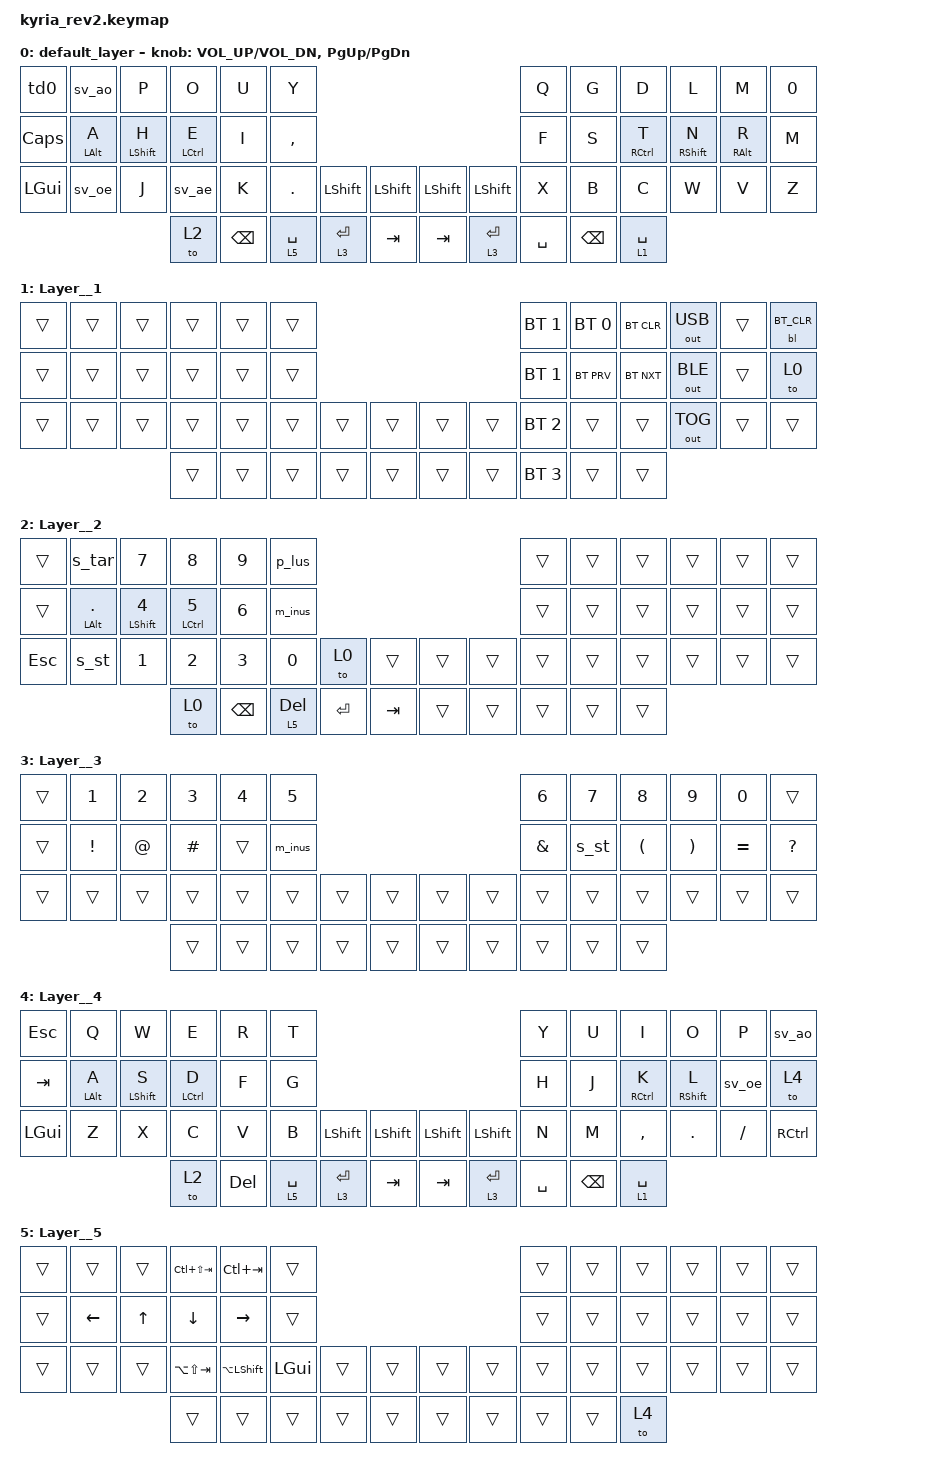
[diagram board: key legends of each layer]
/*
 * Copyright (c) 2020 The ZMK Contributors
 *
 * SPDX-License-Identifier: MIT
 */

#include <behaviors.dtsi>
#include <dt-bindings/zmk/keys.h>
#include <dt-bindings/zmk/bt.h>
#include <dt-bindings/zmk/rgb.h>
#include <dt-bindings/zmk/ext_power.h>
#include "../zmk-nodefree-config/helper.h"
#include "../zmk-nodefree-config/international_chars/swedish.dtsi"




/ {

    combos {
        compatible = "zmk,combos";

        combo_esc {
            timeout-ms = <15>;
            key-positions = <2 3>;
            bindings = <&kp LC(A)>;
        };

        combo_copy {
            timeout-ms = <15>;
            key-positions = <14 15>;
            bindings = <&kp LC(C)>;
        };

        combo_paste {
            timeout-ms = <15>;
            key-positions = <15 16>;
            bindings = <&kp LC(V)>;
        };

        combo_undo {
            timeout-ms = <15>;
            key-positions = <26 27>;
            bindings = <&kp LC(Z)>;
        };

        combo_redo {
            timeout-ms = <15>;
            key-positions = <27 28>;
            bindings = <&kp LC(Y)>;
        };
    };

    behaviors {
        bspc_del: backspace_delete {
            compatible = "zmk,behavior-mod-morph";
            label = "BACKSPACE_DELETE";
            #binding-cells = <0>;
            bindings =
                <&kp BACKSPACE>,
                <&kp DELETE>;

            mods = <(MOD_LSFT|MOD_RSFT)>;
            keep-mods = <(MOD_RSFT)>;
        };
    };
    
    behaviors {
        lh_pht: left_hand_positional_hold_tap {
            compatible = "zmk,behavior-hold-tap";
            label = "LEFT_POSITIONAL_HOLD_TAP";
            #binding-cells = <2>;
            flavor = "hold-preferred";
            tapping-term-ms = <400>;                        
            quick-tap-ms = <200>;
            bindings = <&kp>, <&kp>;
            hold-trigger-key-positions = <6 7 8 9 10 11 18 19 20 21 22 23 32 33 34 35 36 37 38 39 45 46 47 48 49>;    // <---[[right-hand keys]]
        };
    };
    
    behaviors {
        rh_pht: right_hand_positional_hold_tap {
            compatible = "zmk,behavior-hold-tap";
            label = "RIGHT_POSITIONAL_HOLD_TAP";
            #binding-cells = <2>;
            flavor = "hold-preferred";
            tapping-term-ms = <400>;                       
            quick-tap-ms = <200>;
            bindings = <&kp>, <&kp>;
            hold-trigger-key-positions = <0 1 2 3 4 5 12 13 14 15 16 17 24 25 26 27 28 29 30 31 40 41 42 43 44>;    // <---[[left-hand keys]]
        };
    };
    
    behaviors {
        td0: tap_dance_0 {
            compatible = "zmk,behavior-tap-dance";
            label = "TAP_DANCE_0";
            #binding-cells = <0>;
            tapping-term-ms = <200>;
            bindings = <&kp DEL>, <&kp ESC>, <&kp N3>;
        };
    };

   
 

    keymap {
        compatible = "zmk,keymap";

        default_layer {
            // ---------------------------------------------------------------------------------------------------------------------------------
            // |  ESC  |  Q  |  W  |  E   |  R   |  T   |                                          |  Y   |  U    |  I    |  O   |   P   |   Å  |
            // |  TAB  |  A  |  S  |  D   |  F   |  G   |                                          |  H   |  J    |  K    |  L   |   ;   |   '  |
            // | SHIFT |  Z  |  X  |  C   |  V   |  B   | L SHIFT | L SHIFT |  | L SHIFT | L SHIFT |  N   |  M    |  ,    |  .   |   /   | CTRL |
            //                     | GUI  | DEL  | RET  |  SPACE  |   ESC   |  |   RET   |  SPACE  | TAB  | BSPC  | R-ALT |
            
            bindings = <
   &td0  &sv_ao  &kp P  &kp O  &kp U  &kp Y                                                  &kp Q  &kp G  &kp D  &kp L  &kp M  &kp N0
   &kp CAPS  &lh_pht LALT A  &lh_pht LSHFT H  &lh_pht LCTRL E  &kp I  &kp COMMA                                &kp F  &kp S  &rh_pht RCTRL T  &rh_pht RSHFT N  &rh_pht RALT R  &kp M
   &kp LGUI  &sv_oe  &kp J  &sv_ae  &kp K  &kp DOT  &kp LSHFT  &kp LSHFT  &kp LSHFT  &kp LSHFT  &kp X  &kp B  &kp C  &kp W  &kp V  &kp Z
                                     &to 2  &kp BSPC  &lt 5 SPACE  &lt 3 RET  &kp TAB  &kp TAB  &lt 3 RET  &kp SPACE  &kp BSPC  &lt 1 SPACE
            >;

            

            sensor-bindings = <&inc_dec_kp C_VOL_UP C_VOL_DN &inc_dec_kp PG_UP PG_DN>;
        };

        Layer__1 {
            bindings = <
 &trans  &trans  &trans  &trans  &trans  &trans                                  &bt BT_SEL 1  &bt BT_SEL 0  &bt BT_CLR  &out OUT_USB  &trans  &bl BT_CLR
 &trans  &trans  &trans  &trans  &trans  &trans                                  &bt BT_SEL 1    &bt BT_PRV  &bt BT_NXT  &out OUT_BLE  &trans       &to 0
 &trans  &trans  &trans  &trans  &trans  &trans  &trans  &trans  &trans  &trans  &bt BT_SEL 2        &trans      &trans  &out OUT_TOG  &trans      &trans
                         &trans  &trans  &trans  &trans  &trans  &trans  &trans  &bt BT_SEL 3        &trans      &trans
            >;
        };

        Layer__2 {
            bindings = <
  &trans  &s_tar  &kp N7  &kp N8  &kp N9  &p_lus                                                     &trans  &trans  &trans  &trans  &trans  &trans
  &trans  &mt LALT DOT  &mt LSHFT N4  &mt LCTRL N5  &kp N6  &m_inus                                      &trans  &trans  &trans  &trans  &trans  &trans
  &kp ESC  &s_st  &kp N1  &kp N2  &kp N3  &kp N0  &to 0   &trans  &trans  &trans  &trans  &trans  &trans  &trans  &trans  &trans
                                                 &to 0  &kp BSPC  &lt 5 DEL  &kp ENTER  &kp TAB  &trans  &trans  &trans  &trans  &trans
            >;
        };

        Layer__3 {
            bindings = <
 &trans  &kp N1  &kp N2  &kp N3  &kp N4  &kp N5                                  &kp N6  &kp N7  &kp N8  &kp N9  &kp N0  &trans
 &trans  &kp EXCL  &kp AT  &kp POUND  &trans  &m_inus                                  &kp AMPS  &s_st  &kp LPAR  &kp RPAR  &kp EQUAL  &kp QMARK
 &trans  &trans  &trans  &trans  &trans  &trans  &trans  &trans  &trans  &trans  &trans  &trans  &trans  &trans  &trans  &trans
                         &trans  &trans  &trans  &trans  &trans  &trans  &trans  &trans  &trans  &trans
            >;
        };

        Layer__4 {
            bindings = <
   &kp ESC       &kp Q        &kp W     &kp E    &kp R      &kp T                                                  &kp Y     &kp U        &kp I        &kp O          &kp P   &sv_ao
   &kp TAB  &lh_pht LALT A  &lh_pht LSHFT S     &lh_pht LCTRL D    &kp F      &kp G                                                  &kp H     &kp J        &rh_pht RCTRL K  &rh_pht RSHFT L  &sv_oe      &to 4
   &kp LGUI       &kp Z        &kp X     &kp C    &kp V      &kp B  &kp LSHFT  &kp LSHFT  &kp LSHFT  &kp LSHFT      &kp N     &kp M    &kp COMMA      &kp DOT       &kp FSLH  &kp RCTRL
                                     &to 2  &kp DEL  &lt 5 SPACE  &lt 3 RET    &kp TAB    &kp TAB  &lt 3 RET  &kp SPACE  &kp BSPC  &lt 1 SPACE
            >;
        };

        Layer__5 {
            bindings = <
 &trans  &trans  &trans  &kp LC(LS(TAB))  &kp LC(TAB)  &trans                                  &trans  &trans  &trans  &trans  &trans  &trans
 &trans  &kp LEFT  &kp UP  &kp DOWN  &kp RIGHT  &trans                                  &trans  &trans  &trans  &trans  &trans  &trans
 &trans  &trans  &trans  &kp LA(LS(TAB))   &kp LA(LSHFT)   &kp LGUI  &trans  &trans  &trans  &trans  &trans  &trans  &trans  &trans  &trans  &trans
                         &trans  &trans  &trans  &trans  &trans  &trans  &trans  &trans  &trans  &to 4
            >;
        };
    };
};
